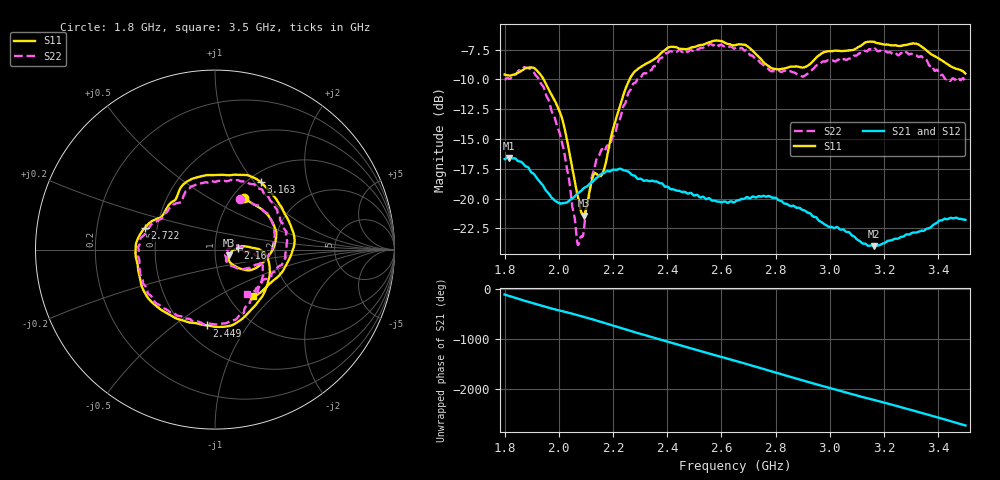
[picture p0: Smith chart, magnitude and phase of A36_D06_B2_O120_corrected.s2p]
! Created with skrf 1.9.0 (http://scikit-rf.org).
# Hz S RI R 50.0
!freq ReS11 ImS11 ReS21 ImS21 ReS12 ImS12 ReS22 ImS22
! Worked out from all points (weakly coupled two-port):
!   1601 points, 1.8 GHz to 3.5 GHz, reference 50 ohm
!   highest |S21| = -16.59 dB at 1.816 GHz (marker M1); lowest = -24.0 dB at 3.163 GHz (marker M2)
!   lowest |S11| = -21.4 dB at 2.091 GHz (marker M3), VSWR 1.19, Z = 58.4 - j3.76 ohm
!   |S11| at or under -10 dB: 1.944 GHz to 2.261 GHz (317.1 MHz wide, 15.1 % of centre)
!   |S22| runs from -23.9 to -7.0 dB; largest |S21 - S12| = 0.0024
!   S11 on the Smith chart (normalised r, x): 1.8 GHz: 1.13, +0.73; 2.16 GHz: 1.29, +0.03; 2.449 GHz: 0.65, -0.67; 2.722 GHz: 0.43, +0.12; 3.163 GHz: 1.14, +1.08; 3.5 GHz: 1.29, -0.75
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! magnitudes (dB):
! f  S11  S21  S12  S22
! 1.8 GHz  -9.6  -16.7  -16.7  -10.0
! 1.816 GHz  -9.7  -16.6  -16.6  -9.9
! 1.881 GHz  -9.0  -17.3  -17.3  -9.0
! 1.943 GHz  -10.0  -19.0  -19.0  -10.6
! 2.013 GHz  -13.3  -20.4  -20.4  -15.4
! 2.068 GHz  -19.6  -19.6  -19.6  -23.6
! 2.084 GHz  -21.2  -19.3  -19.3  -23.2
! 2.091 GHz  -21.4  -19.1  -19.2  -22.9
! 2.127 GHz  -18.1  -18.5  -18.5  -17.8
! 2.16 GHz  -18.0  -17.9  -17.8  -15.9
! 2.192 GHz  -14.9  -17.7  -17.7  -15.3
! 2.259 GHz  -10.1  -17.8  -17.8  -11.0
! 2.367 GHz  -8.0  -18.6  -18.6  -8.4
! 2.449 GHz  -7.4  -19.4  -19.4  -7.6
! 2.65 GHz  -7.1  -20.3  -20.2  -7.4
! 2.722 GHz  -7.8  -19.9  -19.8  -8.2
! 2.796 GHz  -9.1  -19.9  -19.9  -9.3
! 2.934 GHz  -8.6  -21.4  -21.4  -9.2
! 3.163 GHz  -6.9  -24.0  -23.9  -7.5
! 3.217 GHz  -7.1  -23.5  -23.5  -7.7
! 3.323 GHz  -7.0  -22.8  -22.8  -8.0
! 3.5 GHz  -9.5  -21.8  -21.8  -10.3
